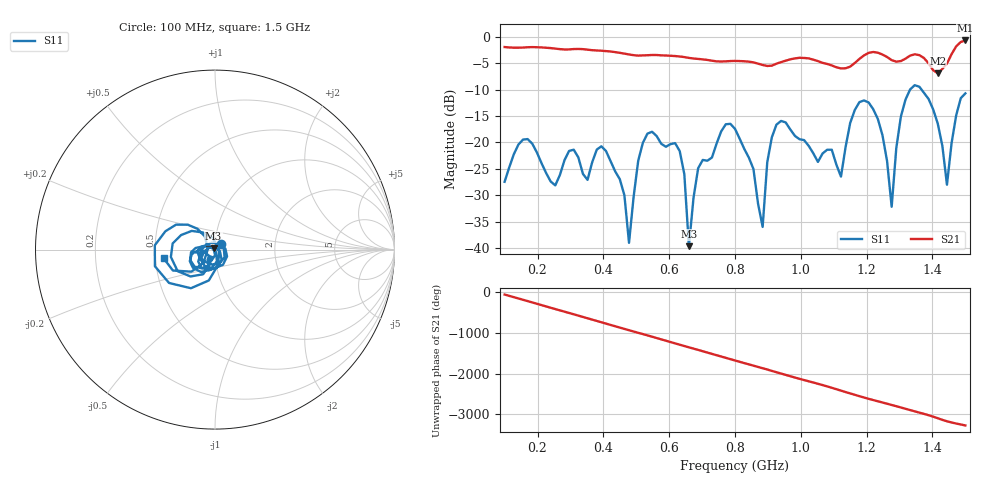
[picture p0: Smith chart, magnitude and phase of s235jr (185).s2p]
! NanoVNA-App
! Date: 2025-09-25 15:05:36
! Start: 100MHz Stop: 1,5GHz Points: 101
! S-Parameter data: F S11 S21 S12 S22
# Hz S RI R 50
!  Frequency  S11_Real  S11_Imag  S21_Real  S21_Imag  S12_Real  S12_Imag  S22_Real  S22_Imag
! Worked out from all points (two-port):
!   101 points, 100 MHz to 1.5 GHz, reference 50 ohm
!   highest |S21| = -0.72 dB at 1.5 GHz (marker M1); lowest = -6.9 dB at 1.416 GHz (marker M2)
!   |S21| within 3 dB of the highest: start of sweep to 626.7 MHz; 1.188 GHz to 1.258 GHz (69.72 MHz wide, 5.7 % of centre) (the widest 2 of 4)
!   lowest |S11| = -39.7 dB at 660 MHz (marker M3), VSWR 1.02, Z = 49.2 + j0.619 ohm
!   |S11| at or under -10 dB: start of sweep to 1.332 GHz; 1.366 GHz to end of sweep
!   S12 and S22 are empty: the file has one direction only
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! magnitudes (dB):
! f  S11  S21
! 100 MHz  -27.5  -2.0
! 170 MHz  -19.4  -2.0
! 338 MHz  -26.0  -2.4
! 408 MHz  -21.6  -2.7
! 478 MHz  -39.0  -3.4
! 520 MHz  -20.1  -3.5
! 576 MHz  -20.3  -3.5
! 632 MHz  -21.6  -3.7
! 660 MHz  -39.7  -4.0
! 688 MHz  -24.9  -4.2
! 800 MHz  -17.4  -4.6
! 884 MHz  -36.0  -5.4
! 926 MHz  -16.6  -5.1
! 1.038 GHz  -22.1  -4.3
! 1.122 GHz  -26.5  -6.0
! 1.206 GHz  -12.5  -3.1
! 1.276 GHz  -32.2  -4.4
! 1.304 GHz  -15.1  -4.6
! 1.332 GHz  -10.0  -3.6
! 1.416 GHz  -16.4  -6.9
! 1.444 GHz  -28.0  -5.1
! 1.5 GHz  -10.7  -0.7
